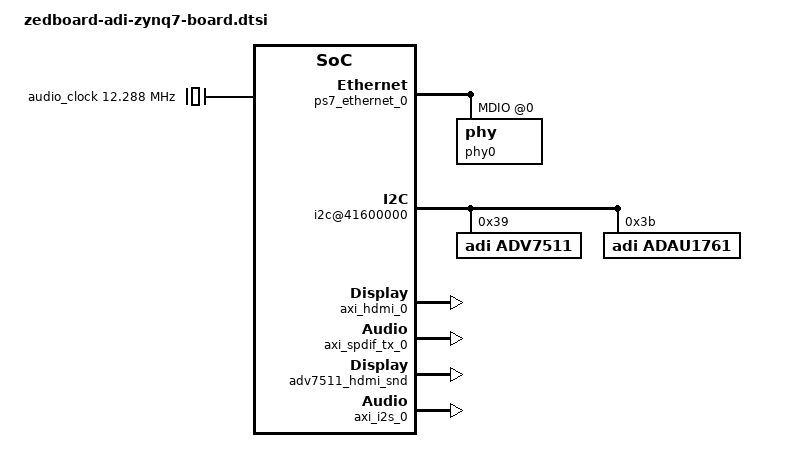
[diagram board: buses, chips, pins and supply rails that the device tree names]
/*
 * ZedBoard ADI DTS file header for generic boot.
 */

/ {
	ps7_axi_interconnect_0: amba@0 {
		ps7_ethernet_0: ps7-ethernet@e000b000 {
			mdio {
				phy0: phy@0 {
					marvell,reg-init = <3 16 0xff00 0x1e 3 17 0xfff0 0x0a>;
				} ;
			} ;
		} ;
		ps7_usb_0: ps7-usb@e0002000 {
			xlnx,phy-reset-gpio = <&ps7_gpio_0 85 0>;
			dr_mode = "host";
		} ;	
	} ;

	fpga_axi: fpga-axi@0 {
		compatible = "simple-bus";
		#address-cells = <0x1>;
		#size-cells = <0x1>;
		ranges;

		i2c@41600000 {
			compatible = "xlnx,axi-iic-1.01.b", "xlnx,xps-iic-2.00.a";
			interrupt-parent = <&ps7_scugic_0>;
			interrupts = <0 58 0x4>;
			reg = <0x41600000 0x10000>;

			#size-cells = <0>;
			#address-cells = <1>;

			adv7511: adv7511@39 {
				compatible = "adi,adv7511";
				reg = <0x39>;

				adi,input-style = <0x02>;
				adi,input-id = <0x01>;
				adi,input-color-depth = <0x3>;
				adi,sync-pulse = <0x03>;
				adi,bit-justification = <0x01>;
				adi,up-conversion = <0x00>;
				adi,timing-generation-sequence = <0x00>;
				adi,vsync-polarity = <0x02>;
				adi,hsync-polarity = <0x02>;
				adi,tdms-clock-inversion;
				adi,clock-delay = <0x03>;
			};

			adau1761: adau1761@3b {
				compatible = "adi,adau1761";
				reg = <0x3b>;
			};
		};

		axi_vdma_0: axivdma@43000000 {
			compatible = "xlnx,axi-vdma";
			interrupt-parent = <&ps7_scugic_0>;
			#address-cells = <1>;
			#size-cells = <1>;
			#dma-cells = <1>;
			#dma-channels = <1>;
			reg = <0x43000000 0x1000>;
			xlnx,include-sg = <0x0>;
			xlnx,num-fstores = <0x3>;
			dma-channel@43000000 {
				compatible = "xlnx,axi-vdma-mm2s-channel";
				interrupt-parent = <&ps7_scugic_0>;
				interrupts = <0 59 0x4>;
				xlnx,datawidth = <0x40>;
				xlnx,genlock-mode = <0x0>;
				xlnx,include-dre = <0x0>;
			};
		};

		hdmi_clock: axi-clkgen@79000000 {
			compatible = "adi,axi-clkgen-2.00.a";
			reg = <0x79000000 0x10000>;
			#clock-cells = <0>;
			clocks = <&clkc 17>;
		};

		axi_hdmi_0: axi_hdmi@70e00000 {
			compatible = "adi,axi-hdmi-tx-1.00.a";
			reg = <0x70e00000 0x10000>;
			encoder-slave = <&adv7511>;
			dmas = <&axi_vdma_0 0>;
			dma-names = "video";
			clocks = <&hdmi_clock>;
		};

		audio_clock: audio_clock {
			compatible = "fixed-clock";
			#clock-cells = <0>;
			clock-frequency = <12288000>;
		};

		axi_spdif_tx_0: axi-spdif-tx@0x75c00000 {
			compatible = "adi,axi-spdif-tx-1.00.a";
			reg = <0x75c00000 0x1000>;
			dmas = <&ps7_dma_s 0>;
			dma-names = "tx";
			clocks = <&clkc 15 &audio_clock>;
			clock-names = "axi", "spdif";
		};

		adv7511_hdmi_snd: adv7511_hdmi_snd {
			compatible = "adv7511-hdmi-snd";
			audio-codec = <&adv7511>;
			cpu-dai = <&axi_spdif_tx_0>;
		};

		axi_i2s_0: axi-i2s@0x77600000 {
			compatible = "adi,axi-i2s-1.00.a";
			reg = <0x77600000 0x1000>;
			dmas = <&ps7_dma_s 1 &ps7_dma_s 2>;
			dma-names = "tx", "rx";
			clocks = <&clkc 15 &audio_clock>;
			clock-names = "axi", "i2s";
		};

		zed_sound {
			compatible = "digilent,zed-sound";
			audio-codec = <&adau1761>;
			cpu-dai = <&axi_i2s_0>;
		};
	} ;
} ;
